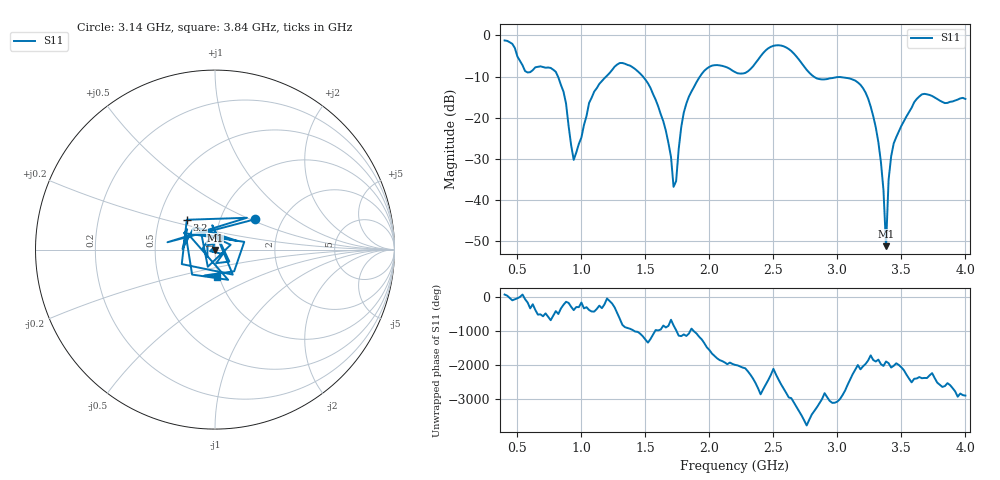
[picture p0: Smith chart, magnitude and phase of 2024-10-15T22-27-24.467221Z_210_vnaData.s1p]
! Created with skrf (http://scikit-rf.org).
# Hz S RI R 50.0
!freq ReS11 ImS11
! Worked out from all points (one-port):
!   181 points, 400 MHz to 4 GHz, reference 50 ohm
!   lowest |S11| = -51.3 dB at 3.38 GHz (marker M1), VSWR 1.01, Z = 50 - j0.271 ohm
!   |S11| at or under -10 dB: 816.9 MHz to 1.193 GHz (376.3 MHz wide, 37.4 % of centre); 1.481 GHz to 1.926 GHz (445.1 MHz wide, 26.1 % of centre); 2.815 GHz to end of sweep
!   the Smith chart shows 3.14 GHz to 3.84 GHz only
!   S11 on the Smith chart (normalised r, x): 3.14 GHz: 1.46, +0.54; 3.2 GHz: 0.69, +0.24; 3.84 GHz: 0.98, -0.30
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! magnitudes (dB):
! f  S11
! 400 MHz  -1.2
! 860 MHz  -13.7
! 940 MHz  -30.3
! 1.1 GHz  -13.7
! 1.3 GHz  -6.7
! 1.58 GHz  -15.6
! 1.68 GHz  -26.2
! 1.72 GHz  -36.8
! 1.74 GHz  -35.5
! 1.76 GHz  -27.7
! 1.82 GHz  -16.6
! 1.94 GHz  -9.4
! 2.2 GHz  -8.9
! 2.5 GHz  -2.5
! 2.66 GHz  -4.4
! 2.84 GHz  -10.5
! 3.1 GHz  -10.5
! 3.14 GHz  -11.0
! 3.2 GHz  -12.8
! 3.32 GHz  -26.0
! 3.36 GHz  -37.6
! 3.38 GHz  -51.3
! 3.4 GHz  -35.1
! 3.42 GHz  -29.4
! 3.56 GHz  -18.7
! 3.66 GHz  -14.3
! 3.84 GHz  -16.5
! 4 GHz  -15.5
